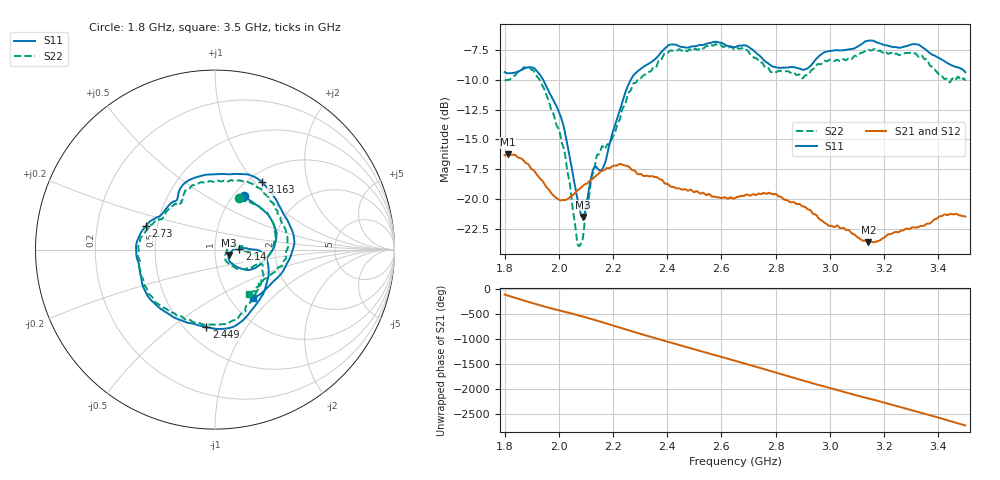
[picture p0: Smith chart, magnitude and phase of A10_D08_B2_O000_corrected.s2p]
! Created with skrf 1.9.0 (http://scikit-rf.org).
# Hz S RI R 50.0
!freq ReS11 ImS11 ReS21 ImS21 ReS12 ImS12 ReS22 ImS22
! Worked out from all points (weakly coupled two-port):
!   1601 points, 1.8 GHz to 3.5 GHz, reference 50 ohm
!   highest |S21| = -16.24 dB at 1.812 GHz (marker M1); lowest = -23.6 dB at 3.142 GHz (marker M2)
!   lowest |S11| = -21.5 dB at 2.089 GHz (marker M3), VSWR 1.18, Z = 58.4 - j3.54 ohm
!   |S11| at or under -10 dB: 1.942 GHz to 2.266 GHz (323.6 MHz wide, 15.4 % of centre)
!   |S22| runs from -23.9 to -7.0 dB; largest |S21 - S12| = 0.0031
!   S11 on the Smith chart (normalised r, x): 1.8 GHz: 1.12, +0.76; 2.14 GHz: 1.31, +0.01; 2.449 GHz: 0.63, -0.67; 2.73 GHz: 0.43, +0.14; 3.163 GHz: 1.15, +1.10; 3.5 GHz: 1.27, -0.77
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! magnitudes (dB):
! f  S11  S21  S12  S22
! 1.8 GHz  -9.4  -16.3  -16.3  -10.0
! 1.812 GHz  -9.5  -16.2  -16.3  -10.0
! 1.887 GHz  -9.0  -17.1  -17.1  -9.0
! 1.94 GHz  -9.9  -18.5  -18.5  -10.5
! 2.013 GHz  -13.5  -20.1  -20.1  -15.4
! 2.068 GHz  -19.9  -19.3  -19.3  -23.5
! 2.084 GHz  -21.4  -19.0  -19.0  -23.7
! 2.089 GHz  -21.5  -18.9  -18.9  -23.2
! 2.14 GHz  -17.3  -18.0  -18.0  -16.4
! 2.168 GHz  -17.1  -17.6  -17.6  -15.8
! 2.266 GHz  -10.0  -17.5  -17.4  -10.8
! 2.367 GHz  -8.0  -18.2  -18.2  -8.4
! 2.449 GHz  -7.2  -19.1  -19.2  -7.5
! 2.65 GHz  -7.3  -19.9  -19.9  -7.4
! 2.73 GHz  -7.8  -19.6  -19.7  -8.2
! 2.802 GHz  -9.0  -19.6  -19.6  -9.4
! 2.934 GHz  -8.7  -21.1  -21.1  -9.2
! 3.142 GHz  -6.7  -23.6  -23.5  -7.5
! 3.163 GHz  -6.8  -23.6  -23.6  -7.4
! 3.217 GHz  -7.2  -22.9  -22.9  -7.8
! 3.325 GHz  -7.1  -22.3  -22.3  -8.0
! 3.5 GHz  -9.4  -21.4  -21.4  -10.1
